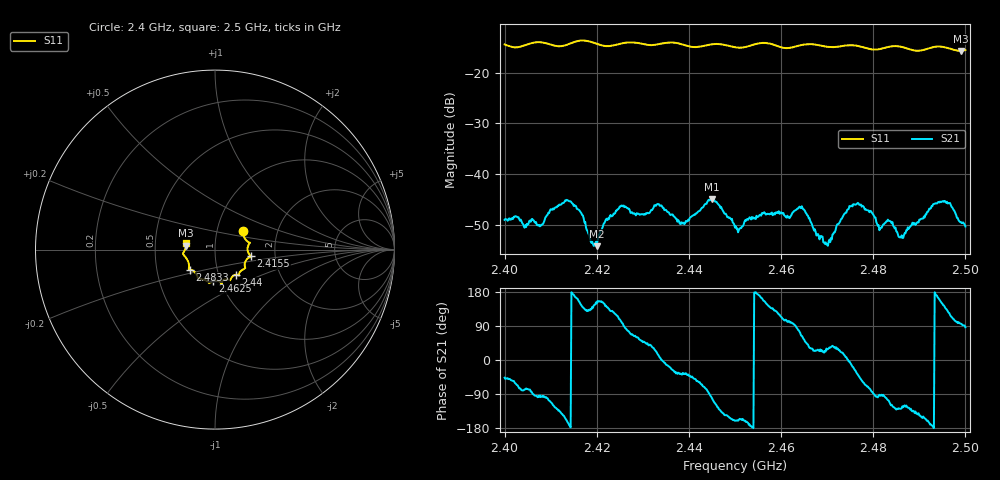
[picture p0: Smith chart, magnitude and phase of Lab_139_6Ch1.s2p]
# Hz S RI R 50
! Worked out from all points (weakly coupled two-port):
!   601 points, 2.4 GHz to 2.5 GHz, reference 50 ohm
!   highest |S21| = -44.92 dB at 2.445 GHz (marker M1); lowest = -54.2 dB at 2.42 GHz (marker M2)
!   lowest |S11| = -15.7 dB at 2.499 GHz (marker M3), VSWR 1.39, Z = 36 + j1.56 ohm
!   |S11| at or under -10 dB: start of sweep to end of sweep
!   S12 and S22 are empty: the file has one direction only
!   S11 on the Smith chart (normalised r, x): 2.4 GHz: 1.33, +0.29; 2.4155 GHz: 1.49, -0.11; 2.44 GHz: 1.20, -0.35; 2.4625 GHz: 0.92, -0.34; 2.4833 GHz: 0.74, -0.17; 2.5 GHz: 0.72, +0.06
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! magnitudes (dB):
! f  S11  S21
! 2.4 GHz  -14.5  -49.0
! 2.4077 GHz  -14.0  -50.3
! 2.4132 GHz  -14.6  -45.2
! 2.4155 GHz  -13.9  -46.3
! 2.4167 GHz  -13.7  -47.7
! 2.42 GHz  -14.3  -54.2
! 2.4253 GHz  -14.3  -46.2
! 2.4333 GHz  -14.4  -45.9
! 2.44 GHz  -14.8  -49.2
! 2.445 GHz  -14.4  -44.9
! 2.45 GHz  -15.0  -50.5
! 2.4625 GHz  -15.0  -47.6
! 2.4645 GHz  -14.6  -46.3
! 2.4667 GHz  -14.4  -49.8
! 2.4697 GHz  -14.9  -53.4
! 2.4762 GHz  -14.7  -46.0
! 2.4813 GHz  -15.4  -51.1
! 2.4833 GHz  -15.0  -49.2
! 2.4862 GHz  -15.0  -52.1
! 2.4952 GHz  -15.0  -45.3
! 2.499 GHz  -15.7  -49.4
! 2.5 GHz  -15.6  -50.3
